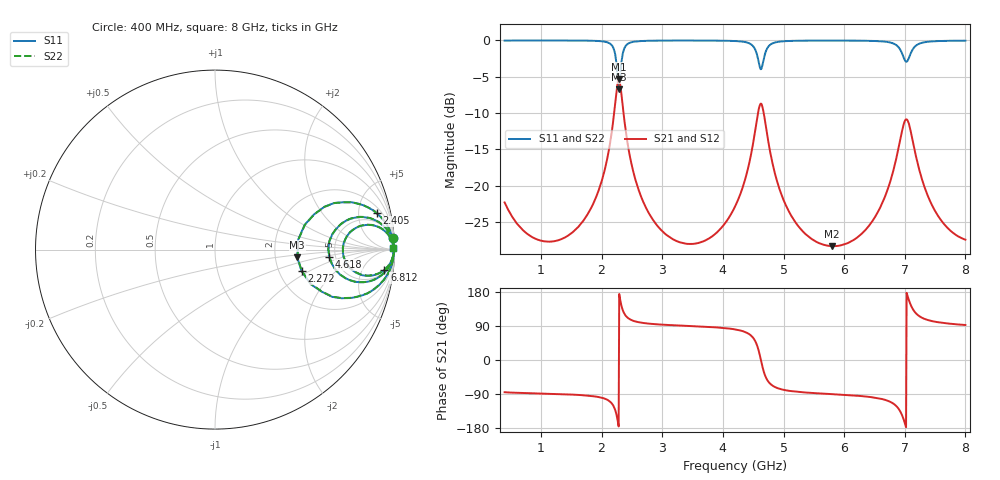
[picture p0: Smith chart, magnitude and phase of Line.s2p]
!Nueva Lista de parametros Z
# Hz Z RI R 50
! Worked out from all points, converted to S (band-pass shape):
!   801 points, 400 MHz to 8 GHz, reference 50 ohm
!   highest |S21| = -5.33 dB at 2.281 GHz (marker M1); lowest = -28.3 dB at 5.796 GHz (marker M2)
!   |S21| within 3 dB of the highest: 2.229 GHz to 2.339 GHz (110.4 MHz wide, 4.83 % of centre)
!   lowest |S11| = -6.7 dB at 2.281 GHz (marker M3), VSWR 2.71, Z = 133 - j14.7 ohm
!   |S11| at or under -10 dB: nowhere
!   |S22| runs from -6.7 to 0.0 dB; largest |S21 - S12| = 0.00099
!   S11 on the Smith chart (normalised r, x): 400 MHz: 2, +31; 2.272 GHz: 2.67, -0.85; 2.405 GHz: 2.88, +7.95; 4.618 GHz: 4.44, -0.60; 6.812 GHz: 6, -14; 8 GHz: open
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4e8  0.6518 -78.78  0.3482 -92.74  0.304 -92.82  0.6605 -78.66
1.008e9  1.164 -8.945  -0.5251 -49.39  -0.5197 -49.45  1.107 -8.855
1.673e9  4.754 40.76  -4.045 -62.58  -4.055 -62.61  4.743 41.09
2.129e9  40.52 160.8  -39.8 -166.2  -39.76 -166.4  40.62 161.4
2.2715e9  255.4 348.4  -254.6 -349.3  -254.6 -349.4  255.5 349.4
2.281e9  307.4 358  -306.7 -358  -306.8 -358.8  307.7 358.5
2.338e9  730.4 30.12  -729.7 -28.22  -729.9 -28.76  731 30.37
2.4045e9  274.1 -357.5  -273.2 361.3  -273.6 361.5  274.5 -357.4
2.9365e9  5.858 -46.13  -4.522 68.76  -4.526 68.78  5.906 -45.52
3.6015e9  2.996 7.868  0.202 50.6  0.1581 50.62  3.059 8.744
4.2e9  9.152 69.96  7.394 85.46  7.29 85.53  9.217 71.06
4.466e9  46.12 176.8  44.49 182.7  44.37 182.8  46.19 177.7
4.618e9  435.2 372.7  433.2 372.9  433.1 373.5  434.5 373
4.7035e9  431.2 -365.5  428.3 -367  429.2 -366.9  429.7 -363.3
4.9885e9  19.17 -103.6  17.14 -115.2  17.36 -115.3  19.09 -101.9
5.473e9  4.885 -25.64  2.186 -57.16  2.258 -57.19  4.821 -24.09
5.796e9  4.084 -1.603  0.1063 -51.7  0.1776 -51.74  4.068 0.0505
6.7365e9  61.85 171.5  -59.63 -182.5  -59.35 -182.8  62.04 174.5
6.8125e9  149.8 249.2  -147.9 -257.9  -147.6 -258.4  150.6 252.8
7.0405e9  124.9 -236.7  -122.8 237.2  -123.3 237.2  126.2 -236.7
7.449e9  10.23 -59.4  -7.385 73.14  -7.513 73.18  10.45 -57.83
8e9  4.869 -10.26  -0.2287 47.95  -0.3085 47.99  5.052 -7.725
